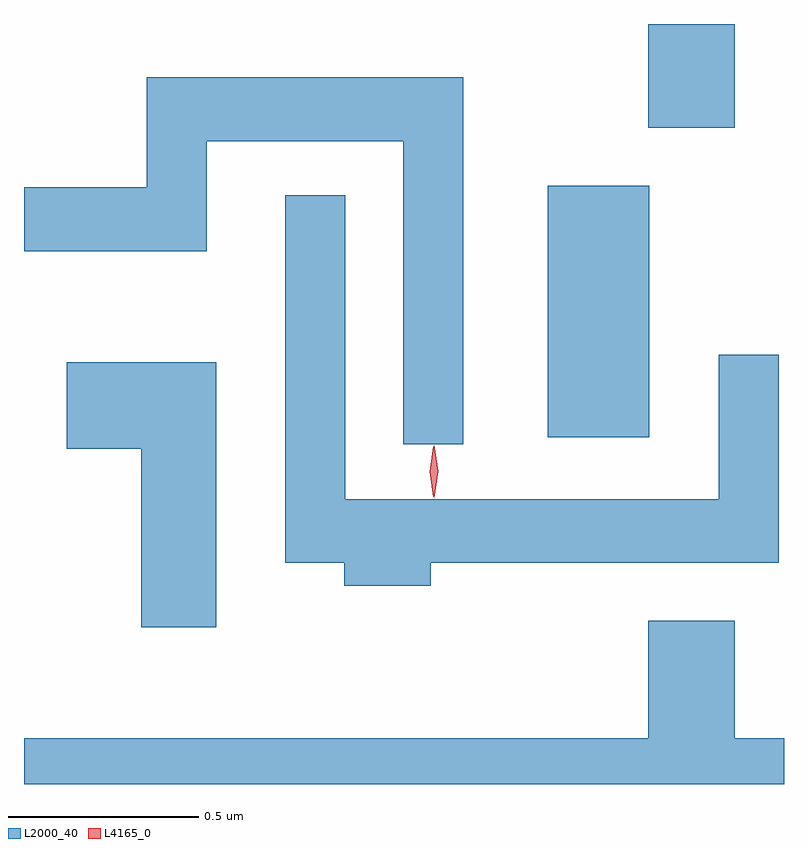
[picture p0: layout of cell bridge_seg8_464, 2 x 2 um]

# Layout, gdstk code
import gdstk
lib = gdstk.Library(unit=1e-6, precision=1e-09)
def R(c, l, rs):  # rectangles x0, y0, x1, y1
    for r in rs: c.add(gdstk.rectangle(r[:2], r[2:], *l))
def P(c, l, *ps):  # polygons
    for p in ps: c.add(gdstk.Polygon(p, *l))
L2000_40 = (2000, 40)
L4165_0 = (4165, 0)

bridge_seg8_464 = lib.new_cell('bridge_seg8_464')
R(bridge_seg8_464, L2000_40, [(567.866,1935.156,568.134,1935.819), (568.131,1935.971,568.359,1936.244)])
P(bridge_seg8_464, L2000_40, [(567.644,1936.104),(566.811,1936.104),(566.811,1935.814),(566.488,1935.814),(566.488,1935.646),(566.969,1935.646),(566.969,1935.936),(567.486,1935.936),(567.486,1935.138),(567.644,1935.138)],
  [(567.559,1934.826),(568.474,1934.826),(568.474,1935.373),(568.316,1935.373),(568.316,1934.994),(567.334,1934.994),(567.334,1935.793),(567.176,1935.793),(567.176,1934.826),(567.331,1934.826),(567.331,1934.766),(567.559,1934.766)],
  [(566.994,1935.354),(566.601,1935.354),(566.601,1935.126),(566.796,1935.126),(566.796,1934.656),(566.994,1934.656)],
  [(568.488,1934.364),(568.359,1934.364),(568.359,1934.674),(568.131,1934.674),(568.131,1934.364),(566.488,1934.364),(566.488,1934.244),(568.488,1934.244)])
P(bridge_seg8_464, L4165_0, [(567.567,1934.997),(567.558,1935.067),(567.567,1935.136),(567.568,1935.136),(567.568,1935.136),(567.578,1935.067),(567.568,1934.997),(567.568,1934.997)],
  [(567.565,1935),(567.556,1935.066),(567.565,1935.132),(567.566,1935.133),(567.566,1935.132),(567.576,1935.066),(567.566,1935),(567.566,1935)])

lib.write_gds('bridge_seg8_464.gds')
